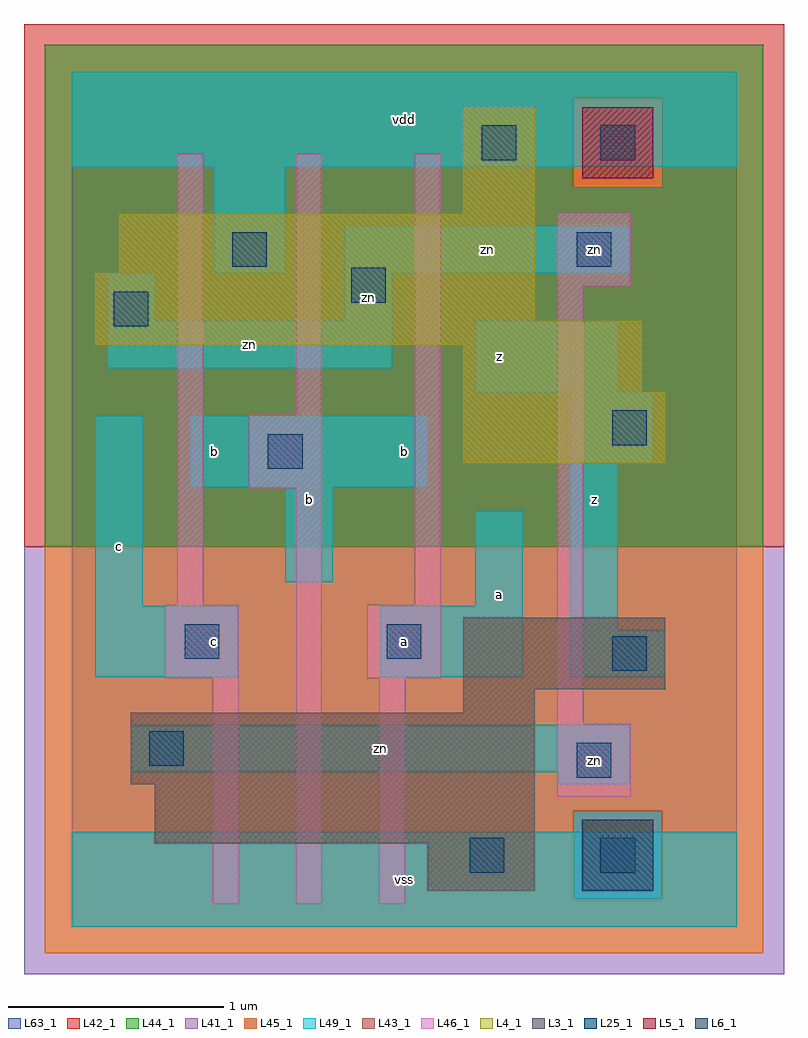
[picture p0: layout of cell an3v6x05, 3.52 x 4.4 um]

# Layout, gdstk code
import gdstk
lib = gdstk.Library(unit=1e-6, precision=1e-09)
def R(c, l, rs):  # rectangles x0, y0, x1, y1
    for r in rs: c.add(gdstk.rectangle(r[:2], r[2:], *l))
L3_1 = (3, 1)
L4_1 = (4, 1)
L5_1 = (5, 1)
L6_1 = (6, 1)
L25_1 = (25, 1)
L41_1 = (41, 1)
L42_1 = (42, 1)
L43_1 = (43, 1)
L44_1 = (44, 1)
L45_1 = (45, 1)
L46_1 = (46, 1)
L49_1 = (49, 1)
L63_1 = (63, 1)

an3v6x05 = lib.new_cell('an3v6x05')
R(an3v6x05, L3_1, [(1.65,0.165,2.145,0.385), (0.385,0.385,2.145,0.66), (0.275,0.66,2.145,0.99), (1.815,0.99,2.145,1.1), (1.815,1.1,2.75,1.43)])
R(an3v6x05, L4_1, [(1.815,2.145,2.75,2.475), (1.815,2.475,2.64,2.695), (0.11,2.695,2.64,2.805), (0.11,2.805,2.145,3.025), (0.22,3.025,2.145,3.3), (1.815,3.3,2.145,3.795)])
R(an3v6x05, L5_1, [(2.365,3.465,2.695,3.795)])
R(an3v6x05, L6_1, [(2.365,0.165,2.695,0.495)])
R(an3v6x05, L25_1, [(1.845,0.25,2.005,0.41), (2.45,0.25,2.61,0.41), (2.34,0.69,2.5,0.85), (0.36,0.745,0.52,0.905), (2.505,1.185,2.665,1.345), (0.525,1.24,0.685,1.4), (1.46,1.24,1.62,1.4), (0.91,2.12,1.07,2.28), (2.505,2.23,2.665,2.39), (0.195,2.78,0.355,2.94), (1.295,2.89,1.455,3.05), (0.745,3.055,0.905,3.215), (2.34,3.055,2.5,3.215), (1.9,3.55,2.06,3.71), (2.45,3.55,2.61,3.71)])
R(an3v6x05, L41_1, [(-0.22,-0.22,3.3,1.76)])
R(an3v6x05, L42_1, [(-0.22,1.76,3.3,4.18)])
R(an3v6x05, L43_1, [(1.65,0.165,2.145,0.385), (2.365,0.165,2.695,0.495), (0.385,0.385,2.145,0.66), (0.275,0.66,2.145,0.99), (1.815,0.99,2.145,1.1), (1.815,1.1,2.75,1.43), (1.815,2.145,2.75,2.475), (1.815,2.475,2.64,2.695), (0.11,2.695,2.64,2.805), (0.11,2.805,2.145,3.025), (0.22,3.025,2.145,3.3), (1.815,3.3,2.145,3.795), (2.365,3.465,2.695,3.795)])
R(an3v6x05, L44_1, [(2.325,0.125,2.735,0.535), (-0.125,1.76,3.205,3.425), (-0.125,3.425,2.325,3.835), (2.735,3.425,3.205,3.835), (-0.125,3.835,3.205,4.085)])
R(an3v6x05, L45_1, [(-0.125,-0.125,3.205,0.125), (-0.125,0.125,2.325,0.535), (2.735,0.125,3.205,0.535), (-0.125,0.535,3.205,1.76), (2.325,3.425,2.735,3.835)])
R(an3v6x05, L46_1, [(0.655,0.105,0.775,1.15), (1.04,0.105,1.16,2.03), (1.425,0.105,1.545,1.15), (2.25,0.6,2.59,0.94), (2.25,0.94,2.37,2.965), (0.435,1.15,0.775,1.49), (1.37,1.15,1.71,1.49), (0.49,1.49,0.61,3.58), (1.59,1.49,1.71,3.58), (0.82,2.03,1.16,2.37), (1.04,2.37,1.16,3.58), (2.25,2.965,2.59,3.305)])
R(an3v6x05, L49_1, [(0,0,3.08,0.44), (2.255,0.66,2.585,0.715), (0.275,0.715,2.585,0.935), (0.11,1.155,0.77,1.485), (1.43,1.155,2.09,1.485), (2.31,1.155,2.75,1.375), (2.31,1.375,2.53,2.145), (0.11,1.485,0.33,2.365), (1.87,1.485,2.09,1.925), (0.99,1.595,1.21,2.035), (0.55,2.035,1.65,2.365), (2.31,2.145,2.695,2.475), (1.87,2.475,2.53,2.805), (0.165,2.585,1.485,2.805), (0.165,2.805,0.385,3.025), (1.265,2.805,1.485,3.025), (0.66,3.025,0.99,3.52), (1.265,3.025,2.585,3.245), (0,3.52,3.08,3.96)])
R(an3v6x05, L63_1, [(0,0,3.08,3.96)])
an3v6x05.add(gdstk.Label('zn', (2.42,0.77), layer=49, texttype=1))
an3v6x05.add(gdstk.Label('zn', (2.42,3.135), layer=49, texttype=1))
an3v6x05.add(gdstk.Label('c', (0.22,1.76), layer=49, texttype=1))
an3v6x05.add(gdstk.Label('c', (0.66,1.32), layer=49, texttype=1))
an3v6x05.add(gdstk.Label('b', (1.1,1.98), layer=49, texttype=1))
an3v6x05.add(gdstk.Label('b', (0.66,2.2), layer=49, texttype=1))
an3v6x05.add(gdstk.Label('zn', (0.825,2.695), layer=49, texttype=1))
an3v6x05.add(gdstk.Label('zn', (1.375,2.915), layer=49, texttype=1))
an3v6x05.add(gdstk.Label('vss', (1.54,0.22), layer=49, texttype=1))
an3v6x05.add(gdstk.Label('a', (1.54,1.32), layer=49, texttype=1))
an3v6x05.add(gdstk.Label('a', (1.98,1.54), layer=49, texttype=1))
an3v6x05.add(gdstk.Label('b', (1.54,2.2), layer=49, texttype=1))
an3v6x05.add(gdstk.Label('z', (1.98,2.64), layer=49, texttype=1))
an3v6x05.add(gdstk.Label('vdd', (1.54,3.74), layer=49, texttype=1))
an3v6x05.add(gdstk.Label('zn', (2.42,0.77), layer=49, texttype=1))
an3v6x05.add(gdstk.Label('zn', (1.43,0.825), layer=49, texttype=1))
an3v6x05.add(gdstk.Label('z', (2.42,1.98), layer=49, texttype=1))
an3v6x05.add(gdstk.Label('zn', (1.925,3.135), layer=49, texttype=1))

lib.write_gds('an3v6x05.gds')
